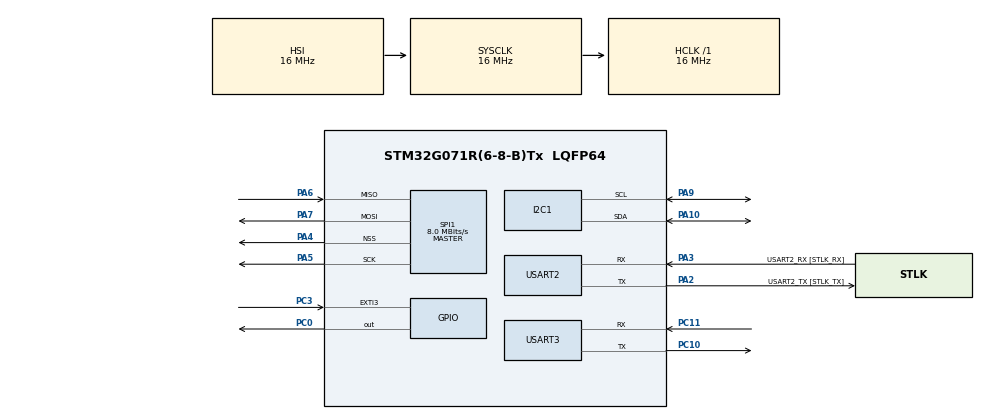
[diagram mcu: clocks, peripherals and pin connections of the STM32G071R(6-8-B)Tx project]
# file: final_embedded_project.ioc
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I2C1.Timing=0x00503D58
Mcu.Family=STM32G0
Mcu.Name=STM32G071R(6-8-B)Tx
Mcu.Package=LQFP64
PA10.Mode=I2C
PA10.Signal=I2C1_SDA
PA13.GPIO_Label=TMS
PA13.Mode=Serial_Wire
PA13.Signal=SYS_SWDIO
PA14-BOOT0.GPIO_Label=TCK
PA14-BOOT0.Mode=Serial_Wire
PA14-BOOT0.Signal=SYS_SWCLK
PA2.GPIO_Label=USART2_TX [STLK_TX]
PA2.GPIO_PuPd=GPIO_PULLUP
PA2.Mode=Asynchronous
PA2.Signal=USART2_TX
PA3.GPIO_Label=USART2_RX [STLK_RX]
PA3.GPIO_PuPd=GPIO_PULLUP
PA3.Mode=Asynchronous
PA3.Signal=USART2_RX
PA4.Mode=NSS_Signal_Hard_Output
PA4.Signal=SPI1_NSS
PA5.Mode=Full_Duplex_Master
PA5.Signal=SPI1_SCK
PA6.Mode=Full_Duplex_Master
PA6.Signal=SPI1_MISO
PA7.Mode=Full_Duplex_Master
PA7.Signal=SPI1_MOSI
PA9.Mode=I2C
PA9.Signal=I2C1_SCL
PC0.Signal=GPIO_Output
PC10.Mode=Asynchronous
PC10.Signal=USART3_TX
PC11.Mode=Asynchronous
PC11.Signal=USART3_RX
PC13.Mode=SYS_WakeUp1
PC13.Signal=SYS_WKUP2
PC14-OSC32_IN\ (PC14).Mode=LSE-External-Oscillator
PC14-OSC32_IN\ (PC14).Signal=RCC_OSC32_IN
PC15-OSC32_OUT\ (PC15).Mode=LSE-External-Oscillator
PC15-OSC32_OUT\ (PC15).Signal=RCC_OSC32_OUT
PC3.Signal=GPXTI3
PF0-OSC_IN\ (PF0).GPIO_Label=MCO
PF0-OSC_IN\ (PF0).Mode=HSE-External-Clock-Source
PF0-OSC_IN\ (PF0).Signal=RCC_OSC_IN
ProjectManager.HeapSize=0x200
ProjectManager.StackSize=0x400
ProjectManager.TargetToolchain=STM32CubeIDE
RCC.AHBFreq_Value=16000000
RCC.CortexFreq_Value=16000000
RCC.EXTERNAL_CLOCK_VALUE=12288000
RCC.HCLKFreq_Value=16000000
RCC.HSE_VALUE=8000000
RCC.HSI_VALUE=16000000
RCC.SYSCLKFreq_VALUE=16000000
RCC.VCOOutputFreq_Value=128000000
SPI1.CalculateBaudRate=8.0 MBits/s
SPI1.DataSize=SPI_DATASIZE_8BIT
SPI1.Direction=SPI_DIRECTION_2LINES
SPI1.Mode=SPI_MODE_MASTER
SPI1.VirtualNSS=VM_NSSHARD
SPI1.VirtualType=VM_MASTER
USART2.VirtualMode-Asynchronous=VM_ASYNC
USART3.VirtualMode-Asynchronous=VM_ASYNC
board=NUCLEO-G071RB

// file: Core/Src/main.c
/* USER CODE BEGIN Header */
/**
  ******************************************************************************
  * @file           : main.c
  * @brief          : Main program body
  ******************************************************************************
  * @attention
  *
  * Copyright (c) 2025 STMicroelectronics.
  * All rights reserved.
  *
  * This software is licensed under terms that can be found in the LICENSE file
  * in the root directory of this software component.
  * If no LICENSE file comes with this software, it is provided AS-IS.
  *
  ******************************************************************************
  */
/* USER CODE END Header */
#include "main.h"

/* USER CODE BEGIN Includes */
#include "bme680/bme680_interface.h"
#include "usart/command_interface.h"
#include "lora/lora_interface.h"

/* USER CODE END Includes */

I2C_HandleTypeDef hi2c1;

SPI_HandleTypeDef hspi1;

UART_HandleTypeDef huart2;
UART_HandleTypeDef huart3;

void SystemClock_Config(void);
static void MX_GPIO_Init(void);
static void MX_USART2_UART_Init(void);
static void MX_I2C1_Init(void);
static void MX_SPI1_Init(void);
static void MX_USART3_UART_Init(void);

int main(void)
{

  /* MCU Configuration--------------------------------------------------------*/

  /* Reset of all peripherals, Initializes the Flash interface and the Systick. */
  HAL_Init();

  /* Configure the system clock */
  SystemClock_Config();

  /* Initialize all configured peripherals */
  MX_GPIO_Init();
  MX_USART2_UART_Init();
  MX_I2C1_Init();
  MX_SPI1_Init();
  MX_USART3_UART_Init();
  /* USER CODE BEGIN 2 */
  // Simple USART test - send a basic message
  HAL_UART_Transmit(&huart2, (uint8_t*)"USART2 Test - System Starting...\r\n", 32, 1000);
  HAL_UART_Transmit(&huart3, (uint8_t*)"USART3 Test - System Starting...\r\n", 32, 1000);

  // Additional USART test - send multiple messages
  for(int i = 0; i < 5; i++) {
    HAL_UART_Transmit(&huart2, (uint8_t*)"USART2 Working!\r\n", 17, 1000);
    HAL_UART_Transmit(&huart3, (uint8_t*)"USART3 Working!\r\n", 17, 1000);
    HAL_GPIO_TogglePin(GPIOC, GPIO_PIN_1); // Toggle LED (using PC1 as LED) to show activity
    HAL_Delay(500);
  }

  // Send initialization messages to USART3
  HAL_UART_Transmit(&huart3, (uint8_t*)"========================================\r\n", 40, 1000);
  HAL_UART_Transmit(&huart3, (uint8_t*)"IoT System - Clean Interface (USART3)\r\n", 38, 1000);
  HAL_UART_Transmit(&huart3, (uint8_t*)"========================================\r\n", 40, 1000);
  HAL_UART_Transmit(&huart3, (uint8_t*)"Team Members:\r\n", 15, 1000);
  HAL_UART_Transmit(&huart3, (uint8_t*)"- Azeem Sarwar\r\n", 17, 1000);
  HAL_UART_Transmit(&huart3, (uint8_t*)"- Muhammad Waqas Khan\r\n", 23, 1000);
  HAL_UART_Transmit(&huart3, (uint8_t*)"- Muhammad Nafis Sadiq\r\n", 24, 1000);
  HAL_UART_Transmit(&huart3, (uint8_t*)"- Wasif Gul\r\n", 13, 1000);
  HAL_UART_Transmit(&huart3, (uint8_t*)"- Ananya\r\n", 10, 1000);
  HAL_UART_Transmit(&huart3, (uint8_t*)"========================================\r\n", 40, 1000);
  HAL_UART_Transmit(&huart3, (uint8_t*)"System Clock: 16 MHz\r\n", 22, 1000);
  HAL_UART_Transmit(&huart3, (uint8_t*)"USART3: PC10 (TX), PC11 (RX) - 115200 baud\r\n", 42, 1000);
  HAL_UART_Transmit(&huart3, (uint8_t*)"Ready for commands...\r\n", 23, 1000);
  HAL_UART_Transmit(&huart3, (uint8_t*)"========================================\r\n", 40, 1000);

  // Initialize command interface first
  command_interface_init();

  // System initialization messages
  command_interface_send_response("========================================\r\n");
  command_interface_send_response("IoT Prototype System - STM32G071RB\r\n");
  command_interface_send_response("========================================\r\n");
  command_interface_send_response("System Clock: 16 MHz\r\n");
  command_interface_send_response("I2C1 Configuration: PA9 (SCL), PA10 (SDA)\r\n");
  command_interface_send_response("USART2: PA2 (TX), PA3 (RX) - 115200 baud\r\n");
  command_interface_send_response("USART3: PC10 (TX), PC11 (RX) - 115200 baud\r\n");
  command_interface_send_response("SPI1: PA5 (SCK), PA6 (MISO), PA7 (MOSI), PA4 (NSS)\r\n");
  command_interface_send_response("SX1262 LoRa: PA4 (NSS), PC0 (RESET), PC3 (BUSY)\r\n");
  command_interface_send_response("LED Status: PC1\r\n");
  command_interface_send_response("========================================\r\n");

  // USART3 is kept clean for command results only

  // Scan I2C bus for devices (debug only on USART2)
  command_interface_send_response("\r\nScanning I2C bus for devices...\r\n");
  i2c_scan_bus();

  // Test I2C configuration (debug only on USART2)
  command_interface_send_response("\r\nTesting I2C configuration...\r\n");

  // Test I2C bus with a simple ping
  HAL_StatusTypeDef i2c_test = HAL_I2C_IsDeviceReady(&hi2c1, 0x76 << 1, 3, 1000);
  if (i2c_test == HAL_OK) {
    command_interface_send_response("✓ I2C bus test successful - device responds at 0x76\r\n");
  } else {
    command_interface_send_response("✗ I2C bus test failed - no device at 0x76\r\n");
  }

  // Check BME680 sensor presence (debug only on USART2)
  command_interface_send_response("\r\nChecking BME680 sensor presence...\r\n");

  if (bme680_check_sensor_presence() == BME68X_OK) {
    command_interface_send_response("✓ BME680 sensor detected on I2C bus (Address: 0x76)\r\n");

    // Initialize BME680 sensor
    command_interface_send_response("Initializing BME680 sensor...\r\n");

    if (bme680_init_sensor() == BME68X_OK) {
      command_interface_send_response("✓ BME680 sensor initialized successfully\r\n");
      command_interface_send_response("  - Temperature oversampling: 1x\r\n");
      command_interface_send_response("  - Pressure oversampling: 1x\r\n");
      command_interface_send_response("  - Humidity oversampling: 1x\r\n");
      command_interface_send_response("  - Gas sensor: Disabled\r\n");
    } else {
      command_interface_send_response("✗ Error initializing BME680 sensor\r\n");
      command_interface_send_response("  - Check sensor power supply (3.3V)\r\n");
      command_interface_send_response("  - Verify I2C connections\r\n");
    }
  } else {
    command_interface_send_response("✗ BME680 sensor not found on I2C bus\r\n");
    command_interface_send_response("Troubleshooting steps:\r\n");
    command_interface_send_response("  1. Check I2C connections:\r\n");
    command_interface_send_response("     - PA9 (SCL) → BME680 SCL\r\n");
    command_interface_send_response("     - PA10 (SDA) → BME680 SDA\r\n");
    command_interface_send_response("  2. Verify power supply:\r\n");
    command_interface_send_response("     - BME680 VCC → 3.3V\r\n");
    command_interface_send_response("     - BME680 GND → GND\r\n");
    command_interface_send_response("  3. Check pull-up resistors (4.7kΩ recommended)\r\n");
    command_interface_send_response("  4. Verify I2C address (default: 0x76)\r\n");
    command_interface_send_response("System will continue without sensor functionality\r\n");
  }

  // Initialize LoRa module (debug only on USART2)
  command_interface_send_response("\r\nInitializing LoRa module...\r\n");

  if (lora_init() == 0) {
    command_interface_send_response("✓ LoRa module initialized successfully\r\n");
  } else {
    command_interface_send_response("✗ LoRa module initialization failed\r\n");
  }

  // Send final status to USART3
  HAL_UART_Transmit(&huart3, (uint8_t*)"System initialization complete!\r\n", 30, 1000);
  HAL_UART_Transmit(&huart3, (uint8_t*)"Type 'start' to begin using commands.\r\n", 36, 1000);
  HAL_UART_Transmit(&huart3, (uint8_t*)"> ", 2, 1000);

  // Test dual communication
  HAL_UART_Transmit(&huart2, (uint8_t*)"[USART2] Dual communication test - this should appear on both USARTs\r\n", 70, 1000);
  HAL_UART_Transmit(&huart3, (uint8_t*)"[USART3] Dual communication test - this should appear on both USARTs\r\n", 70, 1000);
  /* USER CODE END 2 */

  /* Infinite loop */
  while (1)
  {

    /* USER CODE BEGIN 3 */
    // Process command interface
    command_interface_process();

    // Toggle LED to show system is running
    HAL_GPIO_TogglePin(GPIOC, GPIO_PIN_1);

    // Small delay
    HAL_Delay(10);
  }
  /* USER CODE END 3 */
}

void SystemClock_Config(void)
{
  RCC_OscInitTypeDef RCC_OscInitStruct = {0};
  RCC_ClkInitTypeDef RCC_ClkInitStruct = {0};

  /** Configure the main internal regulator output voltage
  */
  HAL_PWREx_ControlVoltageScaling(PWR_REGULATOR_VOLTAGE_SCALE1);

  /** Initializes the RCC Oscillators according to the specified parameters
  * in the RCC_OscInitTypeDef structure.
  */
  RCC_OscInitStruct.OscillatorType = RCC_OSCILLATORTYPE_HSI;
  RCC_OscInitStruct.HSIState = RCC_HSI_ON;
  RCC_OscInitStruct.HSIDiv = RCC_HSI_DIV1;
  RCC_OscInitStruct.HSICalibrationValue = RCC_HSICALIBRATION_DEFAULT;
  RCC_OscInitStruct.PLL.PLLState = RCC_PLL_NONE;
  if (HAL_RCC_OscConfig(&RCC_OscInitStruct) != HAL_OK)
  {
    Error_Handler();
  }

  /** Initializes the CPU, AHB and APB buses clocks
  */
  RCC_ClkInitStruct.ClockType = RCC_CLOCKTYPE_HCLK|RCC_CLOCKTYPE_SYSCLK
                              |RCC_CLOCKTYPE_PCLK1;
  RCC_ClkInitStruct.SYSCLKSource = RCC_SYSCLKSOURCE_HSI;
  RCC_ClkInitStruct.AHBCLKDivider = RCC_SYSCLK_DIV1;
  RCC_ClkInitStruct.APB1CLKDivider = RCC_HCLK_DIV1;

  if (HAL_RCC_ClockConfig(&RCC_ClkInitStruct, FLASH_LATENCY_0) != HAL_OK)
  {
    Error_Handler();
  }
}

static void MX_I2C1_Init(void)
{

  hi2c1.Instance = I2C1;
  hi2c1.Init.Timing = 0x00503D58;
  hi2c1.Init.OwnAddress1 = 0;
  hi2c1.Init.AddressingMode = I2C_ADDRESSINGMODE_7BIT;
  hi2c1.Init.DualAddressMode = I2C_DUALADDRESS_DISABLE;
  hi2c1.Init.OwnAddress2 = 0;
  hi2c1.Init.OwnAddress2Masks = I2C_OA2_NOMASK;
  hi2c1.Init.GeneralCallMode = I2C_GENERALCALL_DISABLE;
  hi2c1.Init.NoStretchMode = I2C_NOSTRETCH_DISABLE;
  if (HAL_I2C_Init(&hi2c1) != HAL_OK)
  {
    Error_Handler();
  }

  /** Configure Analogue filter
  */
  if (HAL_I2CEx_ConfigAnalogFilter(&hi2c1, I2C_ANALOGFILTER_ENABLE) != HAL_OK)
  {
    Error_Handler();
  }

  /** Configure Digital filter
  */
  if (HAL_I2CEx_ConfigDigitalFilter(&hi2c1, 0) != HAL_OK)
  {
    Error_Handler();
  }

}

static void MX_SPI1_Init(void)
{

  /* SPI1 parameter configuration*/
  hspi1.Instance = SPI1;
  hspi1.Init.Mode = SPI_MODE_MASTER;
  hspi1.Init.Direction = SPI_DIRECTION_2LINES;
  hspi1.Init.DataSize = SPI_DATASIZE_8BIT;
  hspi1.Init.CLKPolarity = SPI_POLARITY_LOW;
  hspi1.Init.CLKPhase = SPI_PHASE_1EDGE;
  hspi1.Init.NSS = SPI_NSS_HARD_OUTPUT;
  hspi1.Init.BaudRatePrescaler = SPI_BAUDRATEPRESCALER_2;
  hspi1.Init.FirstBit = SPI_FIRSTBIT_MSB;
  hspi1.Init.TIMode = SPI_TIMODE_DISABLE;
  hspi1.Init.CRCCalculation = SPI_CRCCALCULATION_DISABLE;
  hspi1.Init.CRCPolynomial = 7;
  hspi1.Init.CRCLength = SPI_CRC_LENGTH_DATASIZE;
  hspi1.Init.NSSPMode = SPI_NSS_PULSE_ENABLE;
  if (HAL_SPI_Init(&hspi1) != HAL_OK)
  {
    Error_Handler();
  }

}

static void MX_USART2_UART_Init(void)
{

  huart2.Instance = USART2;
  huart2.Init.BaudRate = 115200;
  huart2.Init.WordLength = UART_WORDLENGTH_8B;
  huart2.Init.StopBits = UART_STOPBITS_1;
  huart2.Init.Parity = UART_PARITY_NONE;
  huart2.Init.Mode = UART_MODE_TX_RX;
  huart2.Init.HwFlowCtl = UART_HWCONTROL_NONE;
  huart2.Init.OverSampling = UART_OVERSAMPLING_16;
  huart2.Init.OneBitSampling = UART_ONE_BIT_SAMPLE_DISABLE;
  huart2.Init.ClockPrescaler = UART_PRESCALER_DIV1;
  huart2.AdvancedInit.AdvFeatureInit = UART_ADVFEATURE_NO_INIT;
  if (HAL_UART_Init(&huart2) != HAL_OK)
  {
    Error_Handler();
  }
  if (HAL_UARTEx_SetTxFifoThreshold(&huart2, UART_TXFIFO_THRESHOLD_1_8) != HAL_OK)
  {
    Error_Handler();
  }
  if (HAL_UARTEx_SetRxFifoThreshold(&huart2, UART_RXFIFO_THRESHOLD_1_8) != HAL_OK)
  {
    Error_Handler();
  }
  if (HAL_UARTEx_DisableFifoMode(&huart2) != HAL_OK)
  {
    Error_Handler();
  }

}

static void MX_USART3_UART_Init(void)
{

  huart3.Instance = USART3;
  huart3.Init.BaudRate = 115200;
  huart3.Init.WordLength = UART_WORDLENGTH_8B;
  huart3.Init.StopBits = UART_STOPBITS_1;
  huart3.Init.Parity = UART_PARITY_NONE;
  huart3.Init.Mode = UART_MODE_TX_RX;
  huart3.Init.HwFlowCtl = UART_HWCONTROL_NONE;
  huart3.Init.OverSampling = UART_OVERSAMPLING_16;
  huart3.Init.OneBitSampling = UART_ONE_BIT_SAMPLE_DISABLE;
  huart3.Init.ClockPrescaler = UART_PRESCALER_DIV1;
  huart3.AdvancedInit.AdvFeatureInit = UART_ADVFEATURE_NO_INIT;
  if (HAL_UART_Init(&huart3) != HAL_OK)
  {
    Error_Handler();
  }

}

static void MX_GPIO_Init(void)
{
  GPIO_InitTypeDef GPIO_InitStruct = {0};

  /* GPIO Ports Clock Enable */
  __HAL_RCC_GPIOC_CLK_ENABLE();
  __HAL_RCC_GPIOF_CLK_ENABLE();
  __HAL_RCC_GPIOA_CLK_ENABLE();

  /*Configure GPIO pin Output Level */
  HAL_GPIO_WritePin(GPIOC, GPIO_PIN_0, GPIO_PIN_RESET);

  /*Configure GPIO pin : PC0 */
  GPIO_InitStruct.Pin = GPIO_PIN_0;
  GPIO_InitStruct.Mode = GPIO_MODE_OUTPUT_PP;
  GPIO_InitStruct.Pull = GPIO_NOPULL;
  GPIO_InitStruct.Speed = GPIO_SPEED_FREQ_LOW;
  HAL_GPIO_Init(GPIOC, &GPIO_InitStruct);

  /*Configure GPIO pin : PC3 */
  GPIO_InitStruct.Pin = GPIO_PIN_3;
  GPIO_InitStruct.Mode = GPIO_MODE_IT_RISING;
  GPIO_InitStruct.Pull = GPIO_NOPULL;
  HAL_GPIO_Init(GPIOC, &GPIO_InitStruct);

  /* USER CODE BEGIN MX_GPIO_Init_2 */
  /* PC0 is configured for SX1262 RESET pin output */
  /* PC3 is configured for SX1262 BUSY pin input */
  /* USART2 and USART3 pins are configured in HAL_UART_MspInit() */
  /* USER CODE END MX_GPIO_Init_2 */
}

void Error_Handler(void)
{
  __disable_irq();
  while (1)
  {
  }
}
